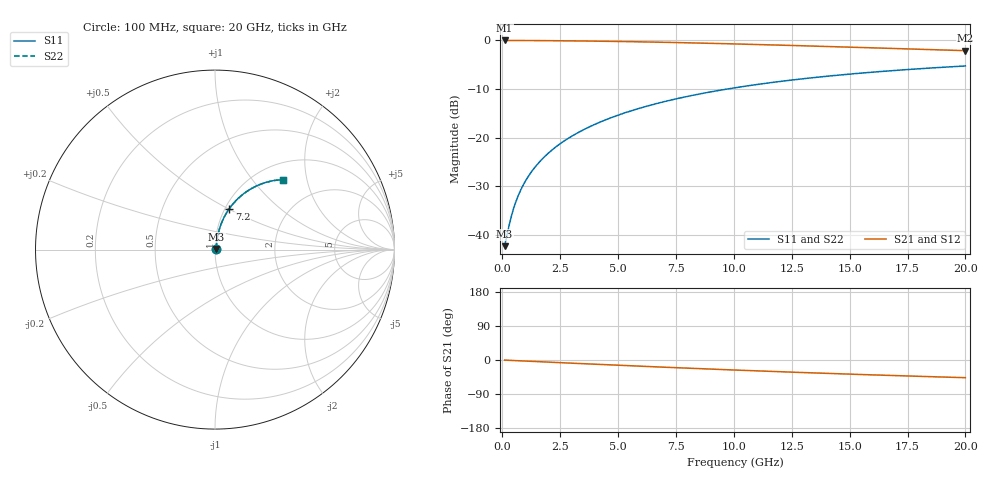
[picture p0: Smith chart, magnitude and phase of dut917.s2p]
! Touchstone file exported from HFSS 2024.1.0
!  File:  C:/UserFiles/LocalFiles/RDL_TSV_Batchsim/temp_RDL_top_917_1779936402.aedt
!  Generated:  10:49:58 AM May 28, 2026
!  Design:  RDL_top
!  Project:  temp_RDL_top_917_1779936402
!  Setup:  Setup1
!  Solution:  Sweep
! Variables:
!  dtsv = 10.80580581um
!  hbump = 3um
!  htsv = 99.36um
!  ldown = 100um
!  lrdl = 553.98um
!  p = 40
!  p1 = 57.53um
!  rhole = 1um
!  t = 450um
!  tdown = 3.915915916um
!  trdl = 2.65um
!  wdown = 15.38538539um
!  wrdl = 10.93um
# GHz S MA R 50.000000
! Terminal data exported
! Port[1] = Box2_T1
! Port[2] = Box2_T2
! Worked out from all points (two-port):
!   200 points, 100 MHz to 20 GHz, reference 50 ohm
!   highest |S21| = -0.06 dB at 100 MHz (marker M1); lowest = -2.2 dB at 20 GHz (marker M2)
!   |S21| within 3 dB of the highest: start of sweep to end of sweep
!   lowest |S11| = -42.3 dB at 100 MHz (marker M3), VSWR 1.02, Z = 50.7 + j0.359 ohm
!   |S11| at or under -10 dB: start of sweep to 9.752 GHz
!   |S22| runs from -42.3 to -5.3 dB; largest |S21 - S12| = 2.1e-15
!   S11 on the Smith chart (normalised r, x): 100 MHz: 1.01, +0.01; 7.2 GHz: 1.05, +0.50; 20 GHz: 1.31, +1.45
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0.1  0.007676 27.5  0.9932 -0.3  0.9932 -0.3  0.007676 27.5
! Gamma 0 0 0 0
! Port Impedance 50 0 50 0
0.3  0.01272 56.4  0.993 -0.9  0.993 -0.9  0.01272 56.4
0.4  0.01583 62.9  0.9929 -1.2  0.9929 -1.2  0.01583 62.9
0.5  0.01908 67.1  0.9927 -1.4  0.9927 -1.4  0.01908 67.1
0.6  0.02238 69.9  0.9925 -1.7  0.9925 -1.7  0.02238 69.9
0.7  0.02572 72.0  0.9923 -2.0  0.9923 -2.0  0.02572 72.0
0.9  0.03244 74.7  0.9919 -2.6  0.9919 -2.6  0.03244 74.7
1.2  0.04254 76.9  0.9911 -3.4  0.9911 -3.4  0.04254 76.9
1.4  0.04929 77.7  0.9905 -4.0  0.9905 -4.0  0.04929 77.7
1.7  0.05942 78.4  0.9896 -4.8  0.9896 -4.8  0.05942 78.4
2.2  0.07632 78.8  0.9877 -6.2  0.9877 -6.2  0.07632 78.8
2.8  0.09657 78.6  0.9849 -7.8  0.9849 -7.8  0.09657 78.6
3.5  0.1201 77.8  0.981 -9.8  0.981 -9.8  0.1201 77.8
4.2  0.1435 76.7  0.9763 -11.7  0.9763 -11.7  0.1435 76.7
5  0.1699 75.3  0.9701 -13.8  0.9701 -13.8  0.1699 75.3
6.8  0.2277 71.7  0.9531 -18.5  0.9531 -18.5  0.2277 71.7
7.2  0.2402 70.9  0.9489 -19.5  0.9489 -19.5  0.2402 70.8
8.6  0.2828 67.9  0.933 -23.0  0.933 -23.0  0.2827 67.9
10.1  0.326 64.7  0.9144 -26.6  0.9144 -26.6  0.326 64.7
13.4  0.4117 57.9  0.8701 -34.0  0.8701 -34.0  0.4116 57.8
16.7  0.4839 51.6  0.8244 -40.7  0.8244 -40.7  0.4837 51.5
20  0.5434 45.8  0.7802 -46.7  0.7802 -46.7  0.5432 45.8
